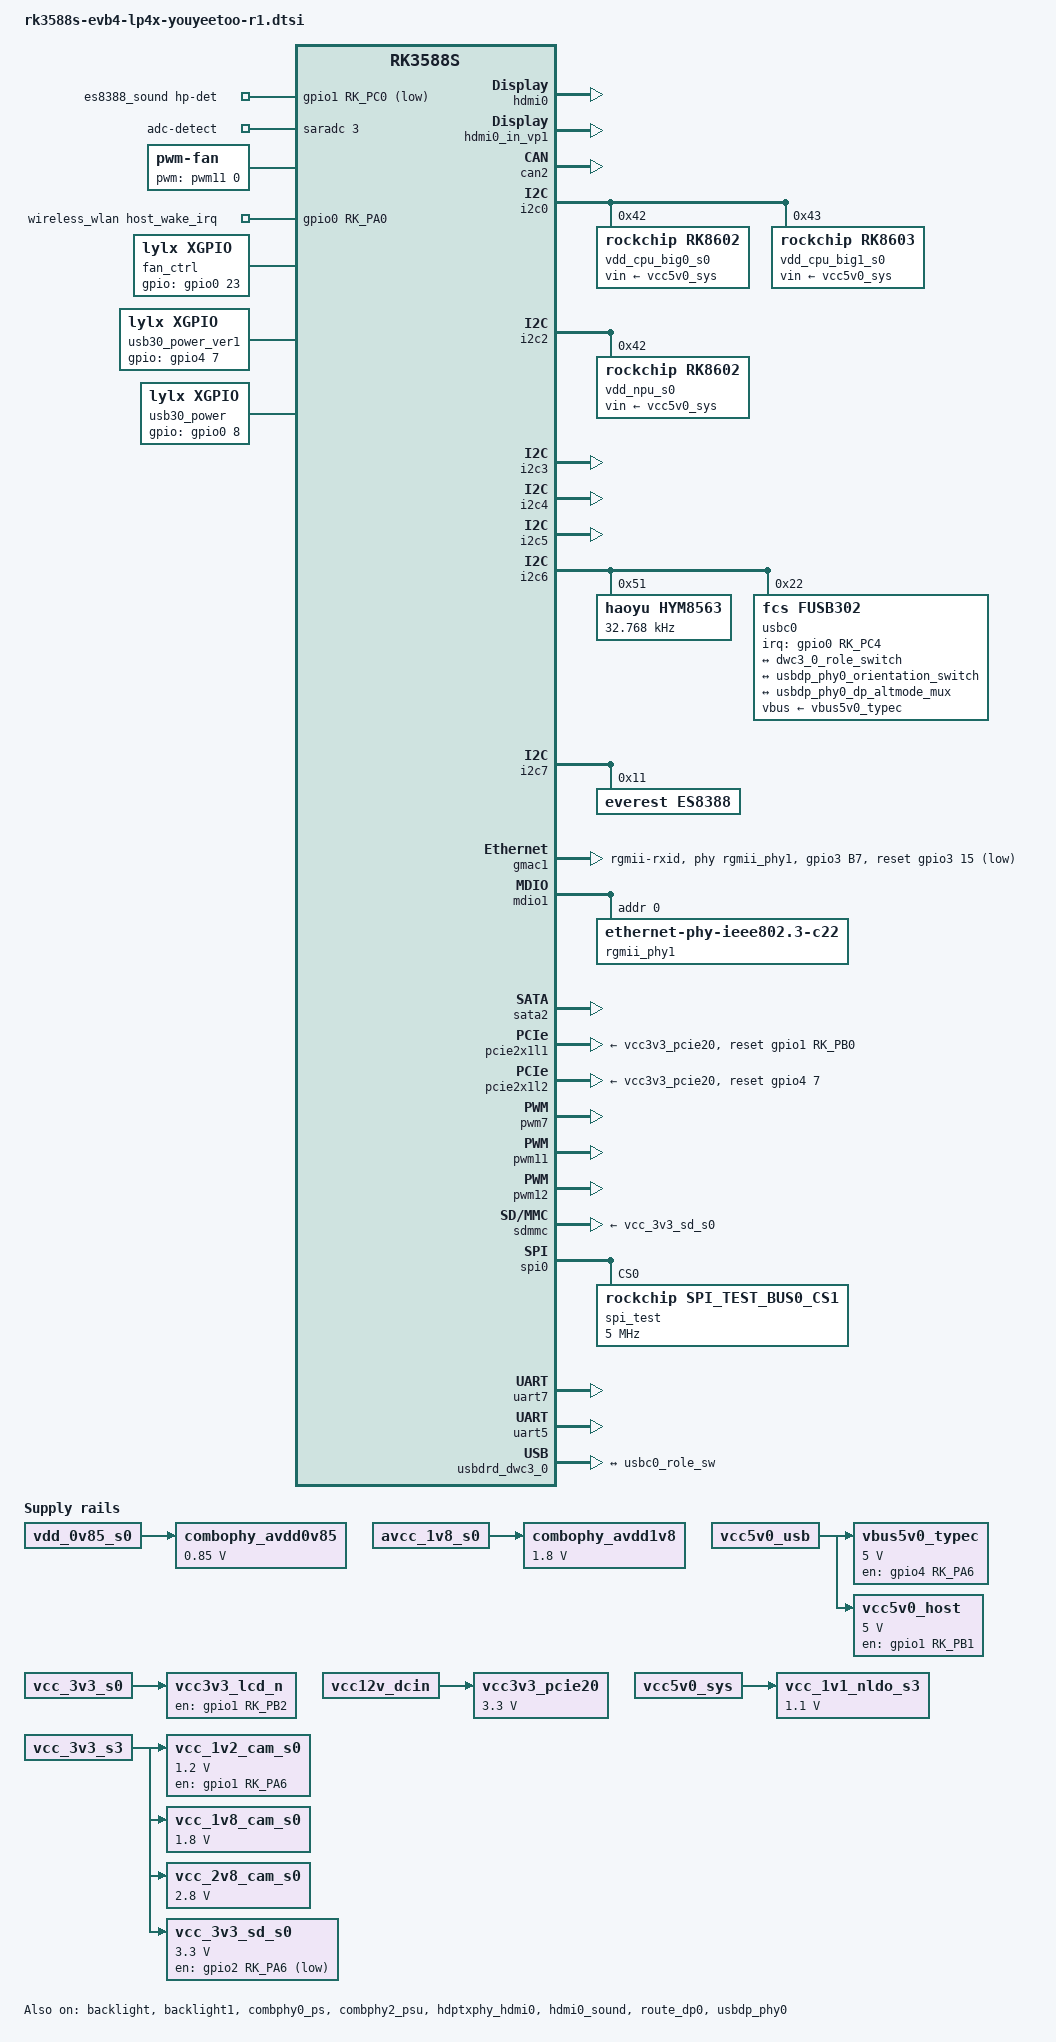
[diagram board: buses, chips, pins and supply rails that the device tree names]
// SPDX-License-Identifier: (GPL-2.0+ OR MIT)
/*
 * Copyright (c) 2021 Rockchip Electronics Co., Ltd.
 *
 */

#include "dt-bindings/usb/pd.h"
#include "rk3588s.dtsi"
#include "rk3588s-evb-youyeetoo-r1.dtsi"
#include "rk3588-rk806-single.dtsi"
#include "rk3588s-youyeetoo-r1-gc8034.dtsi"
#include "rk3588s-lcd-youyeetoo-r1.dtsi"
#define USBHOST3_0 0
#define SATA  0
/ {
	combophy_avdd0v85: combophy-avdd0v85 {
		compatible = "regulator-fixed";
		regulator-name = "combophy_avdd0v85";
		regulator-boot-on;
		regulator-always-on;
		regulator-min-microvolt = <850000>;
		regulator-max-microvolt = <850000>;
		vin-supply = <&vdd_0v85_s0>;
	};

	combophy_avdd1v8: combophy-avdd1v8 {
		compatible = "regulator-fixed";
		regulator-name = "combophy_avdd1v8";
		regulator-boot-on;
		regulator-always-on;
		regulator-min-microvolt = <1800000>;
		regulator-max-microvolt = <1800000>;
		vin-supply = <&avcc_1v8_s0>;
	};
/*
	es7202_sound_micarray: es7202-sound-micarray {
		status = "okay";
		compatible = "simple-audio-card";
		simple-audio-card,format = "i2s";
		simple-audio-card,name = "rockchip,sound-micarray";
		simple-audio-card,mclk-fs = <256>;
		simple-audio-card,dai-link@0 {
			format = "pdm";
			cpu {
				sound-dai = <&pdm0>;
			};
			codec {
				sound-dai = <&es7202>;
			};
		};
	};
*/
	es8388_sound: es8388-sound {
		status = "okay";
		compatible = "rockchip,multicodecs-card";
		rockchip,card-name = "rockchip-es8388";
                hp-det-gpio = <&gpio1 RK_PC0 GPIO_ACTIVE_LOW>;
		io-channels = <&saradc 3>;
		io-channel-names = "adc-detect";
		keyup-threshold-microvolt = <1800000>;
		poll-interval = <100>;
                //spk-con-gpio = <&gpio4 RK_PA5 GPIO_ACTIVE_HIGH>;
                //hp-con-gpio = <&gpio1 RK_PA4 GPIO_ACTIVE_HIGH>;
		rockchip,format = "i2s";
		rockchip,mclk-fs = <256>;
		rockchip,cpu = <&i2s0_8ch>;
		rockchip,codec = <&es8388>;
                //rockchip,audio-routing =
                //	"Headphone", "LOUT1",
                //	"Headphone", "ROUT1",
                //	"Speaker", "LOUT2",
                //	"Speaker", "ROUT2",
                //	"Headphone", "Headphone Power",
                //	"Headphone", "Headphone Power",
                //	"Speaker", "Speaker Power",
                //	"Speaker", "Speaker Power",
                //	"LINPUT1", "Main Mic",
                //        //"LINPUT2", "Main Mic",
                //        "RINPUT1", "Headset Mic";
                //        //"RINPUT2", "Headset Mic";
                rockchip,audio-routing =
                                        "Headphone", "LOUT1",
                                        "Headphone", "ROUT1",
                                        "Speaker", "LOUT1",
                                        "Speaker", "ROUT1",
                                        "Headphone", "Headphone Power",
                                        "Headphone", "Headphone Power",
                                        "Speaker", "Speaker Power",
                                        "Speaker", "Speaker Power",
                                        "LINPUT1", "Main Mic",
                                        "LINPUT2", "Main Mic",
                                        "RINPUT1", "Main Mic",
                                        "RINPUT2", "Main Mic";

		pinctrl-names = "default";
		pinctrl-0 = <&hp_det>;
		play-pause-key {
			label = "playpause";
			linux,code = <KEY_PLAYPAUSE>;
			press-threshold-microvolt = <2000>;
		};
	};

	fan: pwm-fan {
		compatible = "pwm-fan";
		#cooling-cells = <2>;
		pwms = <&pwm11 0 50000 0>;
		cooling-levels = <0 50 100 150 200 255>;
		rockchip,temp-trips = <
			50000	1
			55000	2
			60000	3
			65000	4
			70000	5
		>;
	};

	vbus5v0_typec: vbus5v0-typec {
		compatible = "regulator-fixed";
		regulator-name = "vbus5v0_typec";
		regulator-min-microvolt = <5000000>;
		regulator-max-microvolt = <5000000>;
		enable-active-high;
                gpio = <&gpio4 RK_PA6 GPIO_ACTIVE_HIGH>;
		vin-supply = <&vcc5v0_usb>;
		pinctrl-names = "default";
		pinctrl-0 = <&typec5v_pwren>;
	};

	vcc3v3_lcd_n: vcc3v3-lcd0-n {
		compatible = "regulator-fixed";
		regulator-name = "vcc3v3_lcd0_n";
		regulator-boot-on;
		enable-active-high;
		gpio = <&gpio1 RK_PB2 GPIO_ACTIVE_HIGH>;
		vin-supply = <&vcc_3v3_s0>;
	};

	vcc3v3_pcie20: vcc3v3-pcie20 {
		compatible = "regulator-fixed";
		regulator-name = "vcc3v3_pcie20";
		regulator-min-microvolt = <3300000>;
		regulator-max-microvolt = <3300000>;
		enable-active-high;
                //gpios = <&gpio3 RK_PC3 GPIO_ACTIVE_HIGH>;
		startup-delay-us = <5000>;
		vin-supply = <&vcc12v_dcin>;
	};

	vcc5v0_host: vcc5v0-host {
		compatible = "regulator-fixed";
		regulator-name = "vcc5v0_host";
		regulator-boot-on;
		regulator-always-on;
		regulator-min-microvolt = <5000000>;
		regulator-max-microvolt = <5000000>;
		enable-active-high;
		gpio = <&gpio1 RK_PB1 GPIO_ACTIVE_HIGH>;
		vin-supply = <&vcc5v0_usb>;
		pinctrl-names = "default";
		pinctrl-0 = <&vcc5v0_host_en>;
	};

	vcc_1v1_nldo_s3: vcc-1v1-nldo-s3 {
		compatible = "regulator-fixed";
		regulator-name = "vcc_1v1_nldo_s3";
		regulator-always-on;
		regulator-boot-on;
		regulator-min-microvolt = <1100000>;
		regulator-max-microvolt = <1100000>;
		vin-supply = <&vcc5v0_sys>;
	};

	vcc_1v2_cam_s0: vcc-1v2-cam-s0 {
		compatible = "regulator-fixed";
		regulator-name = "vcc_1v2_cam_s0";
		regulator-min-microvolt = <1200000>;
		regulator-max-microvolt = <1200000>;
		gpios = <&gpio1 RK_PA6 GPIO_ACTIVE_HIGH>;
		enable-active-high;
		vin-supply = <&vcc_3v3_s3>;
		regulator-state-mem {
			regulator-off-in-suspend;
		};
	};

	vcc_1v8_cam_s0: vcc-1v8-cam-s0 {
		compatible = "regulator-fixed";
		regulator-name = "vcc_1v8_cam_s0";
		regulator-min-microvolt = <1800000>;
		regulator-max-microvolt = <1800000>;
		vin-supply = <&vcc_3v3_s3>;
	};

	vcc_2v8_cam_s0: vcc-2v8-cam-s0 {
		compatible = "regulator-fixed";
		regulator-name = "vcc_2v8_cam_s0";
		regulator-min-microvolt = <2800000>;
		regulator-max-microvolt = <2800000>;
		vin-supply = <&vcc_3v3_s3>;
	};

	vcc_3v3_sd_s0: vcc-3v3-sd-s0 {
		compatible = "regulator-fixed";
		regulator-name = "vcc_3v3_sd_s0";
		regulator-min-microvolt = <3300000>;
		regulator-max-microvolt = <3300000>;
                gpios = <&gpio2 RK_PA6 GPIO_ACTIVE_LOW>;
		enable-active-low;
		vin-supply = <&vcc_3v3_s3>;
			regulator-state-mem {
			regulator-off-in-suspend;
		};
	};
/*
	wireless_bluetooth: wireless-bluetooth {
		compatible = "bluetooth-platdata";
		clocks = <&hym8563>;
		clock-names = "ext_clock";
		uart_rts_gpios = <&gpio3 RK_PA4 GPIO_ACTIVE_LOW>;
		pinctrl-names = "default", "rts_gpio";
		pinctrl-0 = <&uart8m1_rtsn>, <&bt_reset_gpio>, <&bt_wake_gpio>, <&bt_wake_host_irq>;
		pinctrl-1 = <&uart8_gpios>;
		BT,reset_gpio    = <&gpio3 RK_PB7 GPIO_ACTIVE_HIGH>;
		BT,wake_gpio     = <&gpio3 RK_PC1 GPIO_ACTIVE_HIGH>;
		BT,wake_host_irq = <&gpio3 RK_PC0 GPIO_ACTIVE_HIGH>;
		status = "okay";
        };

        wireless_bluetooth: wireless-bluetooth {
                compatible = "bluetooth-platdata";
                clocks = <&hym8563>;
                clock-names = "ext_clock";
                uart_rts_gpios = <&gpio3 RK_PD2 GPIO_ACTIVE_LOW>;
                pinctrl-names = "default", "rts_gpio";
                pinctrl-0 = <&uart9m2_rtsn>, <&bt_reset_gpio>, <&bt_wake_gpio>, <&bt_wake_host_irq>;
                pinctrl-1 = <&uart9_gpios>;
                BT,reset_gpio    = <&gpio0 RK_PD4 GPIO_ACTIVE_HIGH>;
                BT,wake_gpio     = <&gpio0 RK_PC6 GPIO_ACTIVE_HIGH>;
                BT,wake_host_irq = <&gpio0 RK_PC5 GPIO_ACTIVE_HIGH>;
                status = "dsiabled";
        };
        sdio_pwrseq: sdio-pwrseq {
                compatible = "mmc-pwrseq-simple";
                clocks = <&hym8563>;
                clock-names = "ext_clock";
                pinctrl-names = "default";
                pinctrl-0 = <&wifi_enable_h>;

                //  On the module itself this is one of these (depending
                //  on the actual card populated):
                //  - SDIO_RESET_L_WL_REG_ON
                //  - PDN (power down when low)

                post-power-on-delay-ms = <200>;
                reset-gpios = <&gpio0 RK_PC7 GPIO_ACTIVE_LOW>;
        };
*/
        wireless_bluetooth: wireless-bluetooth {
                compatible = "bluetooth-platdata";
                clocks = <&hym8563>;
                clock-names = "ext_clock";
                //uart_rts_gpios = <&gpio3 RK_PA4 GPIO_ACTIVE_LOW>;
                //pinctrl-names = "default", "rts_gpio";
                //pinctrl-0 = <&uart8m1_rtsn>, <&bt_reset_gpio>, <&bt_wake_gpio>, <&bt_wake_host_irq>;
                //pinctrl-1 = <&uart8_gpios>;
                //BT,reset_gpio    = <&gpio3 RK_PB7 GPIO_ACTIVE_HIGH>;
                //BT,wake_gpio     = <&gpio3 RK_PC1 GPIO_ACTIVE_HIGH>;
                //BT,wake_host_irq = <&gpio3 RK_PC0 GPIO_ACTIVE_HIGH>;
                status = "okay";
        };
	wireless_wlan: wireless-wlan {
		compatible = "wlan-platdata";
                wifi_chip_type = "rtl8852be";
		pinctrl-names = "default";
                pinctrl-0 = <&wifi_host_wake_irq>/*, <&wifi_poweren_gpio>*/;
		WIFI,host_wake_irq = <&gpio0 RK_PA0 GPIO_ACTIVE_HIGH>;
                //WIFI,poweren_gpio = <&gpio0 RK_PC7 GPIO_ACTIVE_HIGH>;
		status = "okay";
        };

        fan_ctrl{//0c7
            compatible = "lylx,xgpio";
            gpio              = <&gpio0 23  GPIO_ACTIVE_HIGH>;
            def_val = <0>;
            //delayms = <200>;
            status = "okay";
        };        

        usb30_power_ver1{//1c7
            compatible = "lylx,xgpio";
            gpio              = <&gpio4 7  GPIO_ACTIVE_HIGH>;
            def_val = <1>;
            //delayms = <200>;
            status = "okay";
        };
        usb30_power{//0 B0
            compatible = "lylx,xgpio";
            gpio              = <&gpio0 8  GPIO_ACTIVE_HIGH>;
            def_val = <1>;
            //delayms = <200>;
            status = "okay";
        };

};

&backlight {
        pwms = <&pwm12 0 25000 0>;
	status = "okay";
};
&backlight1 {
        pwms = <&pwm11 0 25000 0>;
        status = "okay";
};


&combphy0_ps {
	status = "okay";
};

&combphy2_psu {
	status = "okay";
};

&dp0 {
        status = "disalbed";
};


&dp0_in_vp1 {
        status = "disalbed";
};

/*
 * mipi_dcphy0 needs to be enabled
 * when dsi0 is enabled
 */

/*
 * mipi_dcphy1 needs to be enabled
 * when dsi1 is enabled
 */

&hdptxphy_hdmi0 {
        status = "okay";
};


&hdmi0 {
        enable-gpios = <&gpio4 RK_PB6 GPIO_ACTIVE_HIGH>;
        status = "okay";
};

//&hdmi0_in_vp0 {
&hdmi0_in_vp1 {
        status = "okay";
};

&hdmi0_sound {
        status = "okay";
};
&can2 {
    pinctrl-names = "default";
    pinctrl-0 = <&can2m1_pins>;
    status = "okay";
};






&i2c0 {
	status = "okay";
	pinctrl-names = "default";
	pinctrl-0 = <&i2c0m2_xfer>;

	vdd_cpu_big0_s0: vdd_cpu_big0_mem_s0: rk8602@42 {
		compatible = "rockchip,rk8602";
		reg = <0x42>;
		vin-supply = <&vcc5v0_sys>;
		regulator-compatible = "rk860x-reg";
		regulator-name = "vdd_cpu_big0_s0";
		regulator-min-microvolt = <550000>;
		regulator-max-microvolt = <1050000>;
		regulator-ramp-delay = <2300>;
		rockchip,suspend-voltage-selector = <1>;
		regulator-boot-on;
		regulator-always-on;
		regulator-state-mem {
			regulator-off-in-suspend;
		};
	};

	vdd_cpu_big1_s0: vdd_cpu_big1_mem_s0: rk8603@43 {
		compatible = "rockchip,rk8603";
		reg = <0x43>;
		vin-supply = <&vcc5v0_sys>;
		regulator-compatible = "rk860x-reg";
		regulator-name = "vdd_cpu_big1_s0";
		regulator-min-microvolt = <550000>;
		regulator-max-microvolt = <1050000>;
		regulator-ramp-delay = <2300>;
		rockchip,suspend-voltage-selector = <1>;
		regulator-boot-on;
		regulator-always-on;
		regulator-state-mem {
			regulator-off-in-suspend;
		};
	};
};


&i2c2 {
	status = "okay";
	vdd_npu_s0: vdd_npu_mem_s0: rk8602@42 {
		compatible = "rockchip,rk8602";
		reg = <0x42>;
		vin-supply = <&vcc5v0_sys>;
		regulator-compatible = "rk860x-reg";
		regulator-name = "vdd_npu_s0";
		regulator-min-microvolt = <550000>;
		regulator-max-microvolt = <950000>;
		regulator-ramp-delay = <2300>;
		rockchip,suspend-voltage-selector = <1>;
		regulator-boot-on;
		regulator-always-on;
		regulator-state-mem {
			regulator-off-in-suspend;
		};
	};
};

&i2c3 {
        status = "okay";
        pinctrl-names = "default";
        pinctrl-0 = <&i2c3m2_xfer>;
/*
	es8388: es8388@11 {
                status = "disabled";
		#sound-dai-cells = <0>;
		compatible = "everest,es8388", "everest,es8323";
		reg = <0x11>;
		clocks = <&cru I2S0_8CH_MCLKOUT>;
		clock-names = "mclk";
		pinctrl-names = "default";
		pinctrl-0 = <&i2s0_mclk>;
	};

	es7202: es7202@32 {
                status = "disabled";
		#sound-dai-cells = <0>;
		compatible = "ES7202_PDM_ADC_1";
                power-supply = <&vcc_1v8_s0>;
		reg = <0x32>;
        };*/

        gt1x: gt1x@14 {
                compatible = "goodix,gt1x";
                status = "disalbed";
                reg = <0x14>;
                pinctrl-names = "default";
                pinctrl-0 = <&touch_gpio>;
                goodix,rst-gpio = <&gpio1 RK_PB3 GPIO_ACTIVE_HIGH>;
                goodix,irq-gpio = <&gpio4 RK_PB2 GPIO_ACTIVE_HIGH>;//4b2
                power-supply = <&vcc3v3_lcd_n>;
        };



};

&i2c4 {
	status = "okay";
	pinctrl-names = "default";
	pinctrl-0 = <&i2c4m3_xfer>;

/*
        gslx680@40 {
                compatible = "gslX680";
                reg = <0x40>;
                pinctrl-names = "default";
                pinctrl-0 = <&touch_gpio>;
                touch-gpio = <&gpio0 RK_PD5 IRQ_TYPE_EDGE_RISING>;
                reset-gpio = <&gpio3 RK_PC2 GPIO_ACTIVE_LOW>;
                max-x = <1024>;
                max-y = <600>;
       };*/

};

&i2c5 {
	status = "okay";
        pinctrl-0 = <&i2c5m3_xfer>;

	ls_stk3332: light@47 {
		compatible = "ls_stk3332";
		status = "disabled";
		reg = <0x47>;
		type = <SENSOR_TYPE_LIGHT>;
		irq_enable = <0>;
		als_threshold_high = <100>;
		als_threshold_low = <10>;
		als_ctrl_gain = <2>; /* 0:x1 1:x4 2:x16 3:x64 */
		poll_delay_ms = <100>;
	};

	ps_stk3332: proximity@47 {
		compatible = "ps_stk3332";
		status = "disabled";
		reg = <0x47>;
		type = <SENSOR_TYPE_PROXIMITY>;
		//pinctrl-names = "default";
		//pinctrl-0 = <&gpio3_c6>;
		//irq-gpio = <&gpio3 RK_PC6 IRQ_TYPE_LEVEL_LOW>;
		//irq_enable = <1>;
		ps_threshold_high = <0x200>;
		ps_threshold_low = <0x100>;
		ps_ctrl_gain = <3>; /* 0:x1 1:x2 2:x5 3:x8 */
		ps_led_current = <4>; /* 0:3.125mA 1:6.25mA 2:12.5mA 3:25mA 4:50mA 5:100mA*/
		poll_delay_ms = <100>;
	};

	mpu6500_acc: mpu_acc@68 {
		compatible = "mpu6500_acc";
		reg = <0x68>;
		irq-gpio = <&gpio3 RK_PB4 IRQ_TYPE_EDGE_RISING>;
		irq_enable = <0>;
		poll_delay_ms = <30>;
		type = <SENSOR_TYPE_ACCEL>;
		layout = <8>;
                status = "disabled";
	};

	mpu6500_gyro: mpu_gyro@68 {
		compatible = "mpu6500_gyro";
		reg = <0x68>;
		irq_enable = <0>;
		poll_delay_ms = <30>;
		type = <SENSOR_TYPE_GYROSCOPE>;
		layout = <8>;
                status = "disabled";
        };

};

&i2c6 {
        status = "okay";
        pinctrl-names = "default";
        pinctrl-0 = <&i2c6m3_xfer>;

        hym8563: hym8563@51 {
                compatible = "haoyu,hym8563";
                reg = <0x51>;
                #clock-cells = <0>;
                clock-frequency = <32768>;
                clock-output-names = "hym8563";
                //pinctrl-names = "default";
                //pinctrl-0 = <&hym8563_int>;
                //interrupt-parent = <&gpio0>;
                //interrupts = <RK_PB0 IRQ_TYPE_LEVEL_LOW>;
                //wakeup-source;
                status = "okay";
        };
        usbc0: fusb302@22 {
                compatible = "fcs,fusb302";
                reg = <0x22>;
                interrupt-parent = <&gpio0>;
                interrupts = <RK_PC4 IRQ_TYPE_LEVEL_LOW>;
                pinctrl-names = "default";
                pinctrl-0 = <&usbc0_int>;
                vbus-supply = <&vbus5v0_typec>;
                status = "okay";

                ports {
                        #address-cells = <1>;
                        #size-cells = <0>;

                        port@0 {
                                reg = <0>;
                                usbc0_role_sw: endpoint@0 {
                                        remote-endpoint = <&dwc3_0_role_switch>;
                                };
                        };
                };

                usb_con: connector {
                        compatible = "usb-c-connector";
                        label = "USB-C";
                        data-role = "dual";
                        power-role = "dual";
                        try-power-role = "sink";
                        op-sink-microwatt = <1000000>;
                        sink-pdos =
                                <PDO_FIXED(5000, 1000, PDO_FIXED_USB_COMM)>;
                        source-pdos =
                                <PDO_FIXED(5000, 3000, PDO_FIXED_USB_COMM)>;

                        altmodes {
                                #address-cells = <1>;
                                #size-cells = <0>;

                                altmode@0 {
                                        reg = <0>;
                                        svid = <0xff01>;
                                        vdo = <0xffffffff>;
                                };
                        };

                        ports {
                                #address-cells = <1>;
                                #size-cells = <0>;

                                port@0 {
                                        reg = <0>;
                                        usbc0_orien_sw: endpoint {
                                                remote-endpoint = <&usbdp_phy0_orientation_switch>;
                                        };
                                };

                                port@1 {
                                        reg = <1>;
                                        dp_altmode_mux: endpoint {
                                                remote-endpoint = <&usbdp_phy0_dp_altmode_mux>;
                                        };
                                };
                        };
                };
        };
};

&i2c7 {
        status = "okay";
        pinctrl-names = "default";
        pinctrl-0 = <&i2c7m0_xfer>;

        es8388: es8388@11 {
                status = "okay";
                #sound-dai-cells = <0>;
                compatible = "everest,es8388", "everest,es8323";
                reg = <0x11>;
                clocks = <&cru I2S0_8CH_MCLKOUT>;
                clock-names = "mclk";
                pinctrl-names = "default";
                pinctrl-0 = <&i2s0_mclk>;
        };


};



&gmac1 {

    phy-mode = "rgmii-rxid";
    clock_in_out = "input";


    snps,reset-gpio = <&gpio3 15 1>;//
    snps,reset-active-high;

    snps,reset-delays-us = <0 20000 100000>;

    pinctrl-names = "default";
    pinctrl-0 = <&gmac1_miim
                &gmac1_tx_bus2
                &gmac1_rx_bus2
                &gmac1_rgmii_clk
                &gmac1_rgmii_bus
                &gmac1_clkinout
                &eth1_reset_pins>;

     tx_delay = <0x44>;
     rx_delay = <0x18>;

     phy-handle = <&rgmii_phy1>;
     status = "okay";
};
&mdio1 {
        rgmii_phy1: phy@0 {
                compatible = "ethernet-phy-ieee802.3-c22";
                reg = <0x0>;
              //  clocks = <&cru REFCLKO25M_ETH0_OUT>;
        };
};

&pdm0 {
        status = "disabled";
};

#if USBHOST3_0

&u2phy3_host {
        phy-supply = <&vbus5v0_usb3>;
        status = "okay";
};

&usbhost_dwc3_0 {
        dr_mode = "host";
        status = "okay";
};

#else


&usbhost3_0 {
    status = "disabled";
};

&usbhost_dwc3_0{
        status = "disabled";
};



&sata2{
        status = "okay";
        pedet-gpios =<&gpio1 RK_PA6 GPIO_ACTIVE_LOW>;//low for sata
        assigned-clock-rates = <100000000>;
};
&pcie2x1l1 {
    reset-gpios = <&gpio1 RK_PB0 GPIO_ACTIVE_HIGH>;
    pedet-gpios = <&gpio1 RK_PA6 GPIO_ACTIVE_HIGH>;//high for pcie
    vpcie3v3-supply = <&vcc3v3_pcie20>;
    rockchip,skip-scan-in-resume;
    status = "okay";
};


#endif




//&pcie2x1l2 {
//        reset-gpios = <&gpio3 RK_PD1 GPIO_ACTIVE_HIGH>;
//        rockchip,skip-scan-in-resume;
//        pinctrl-names = "default";
//        pinctrl-0 = <&rtl8111_isolate>;
//        status = "disabled";
//};

&pcie2x1l2 {
     reset-gpios = <&gpio4 7 0>;
     vpcie3v3-supply = <&vcc3v3_pcie20>;
     rockchip,skip-scan-in-resume;


     status = "okay";
};

&pinctrl {
	headphone {
		hp_det: hp-det {
                        rockchip,pins = <1 RK_PC0 RK_FUNC_GPIO &pcfg_pull_none>;
		};
	};
        xgpio{
                gpio_4g:gpio-4g{
                        rockchip,pins =
                                <0 23  RK_FUNC_GPIO &pcfg_pull_up>,
                                //<3 26 RK_FUNC_GPIO &pcfg_pull_up>,
                                //<3 27 RK_FUNC_GPIO &pcfg_pull_up>,
                                //<0 21 RK_FUNC_GPIO &pcfg_pull_up>,
                                //<0 29 RK_FUNC_GPIO &pcfg_pull_up>,
                                //<4 6  RK_FUNC_GPIO &pcfg_pull_up>,
                                <4 7  RK_FUNC_GPIO &pcfg_pull_up>,
                                <0 8  RK_FUNC_GPIO &pcfg_pull_up>;
                                //<4 10  RK_FUNC_GPIO &pcfg_pull_none>,
                                //<4 13 RK_FUNC_GPIO &pcfg_pull_up>;
                };
        };
	hym8563 {
		hym8563_int: hym8563-int {
			rockchip,pins = <0 RK_PB0 RK_FUNC_GPIO &pcfg_pull_up>;
		};
	};
        rtl8111 {
                rtl8111_isolate: rtl8111-isolate {
                        rockchip,pins = <4 RK_PA2 RK_FUNC_GPIO &pcfg_pull_up>;
                };
        };
	lcd {
		lcd_rst_gpio: lcd-rst-gpio {
                        rockchip,pins = <1 RK_PB5 RK_FUNC_GPIO &pcfg_pull_none>,
                                        <1 RK_PB4 RK_FUNC_GPIO &pcfg_pull_none>;
		};
	};

	sensor {
		mpu6500_irq_gpio: mpu6500_irq_gpio {
			rockchip,pins = <3 RK_PB4 RK_FUNC_GPIO &pcfg_pull_none>;
		};
	};

	touch {
		touch_gpio: touch-gpio {
			rockchip,pins =
                                <4 RK_PB2 RK_FUNC_GPIO &pcfg_pull_up>,
                                <1 RK_PB2 RK_FUNC_GPIO &pcfg_pull_up>,
                                <1 RK_PB3 RK_FUNC_GPIO &pcfg_pull_up>;
		};
        };

	usb {
		vcc5v0_host_en: vcc5v0-host-en {
                        rockchip,pins = <1 RK_PB1 RK_FUNC_GPIO &pcfg_pull_none>;
		};
	};

	usb-typec {
		usbc0_int: usbc0-int {
                        rockchip,pins = <0 RK_PC4 RK_FUNC_GPIO &pcfg_pull_up>;
		};

		typec5v_pwren: typec5v-pwren {
                        rockchip,pins = <4 RK_PA6 RK_FUNC_GPIO &pcfg_pull_none>;
		};
	};
/*
        wireless-bluetooth {
                uart9_gpios: uart9-gpios {
                        rockchip,pins = <3 RK_PD2 RK_FUNC_GPIO &pcfg_pull_none>;
                };

                bt_reset_gpio: bt-reset-gpio {
                        rockchip,pins = <0 RK_PD4 RK_FUNC_GPIO &pcfg_pull_none>;
                };

                bt_wake_gpio: bt-wake-gpio {
                        rockchip,pins = <0 RK_PC6 RK_FUNC_GPIO &pcfg_pull_none>;
                };

                bt_wake_host_irq: bt-wake-host-irq {
                        rockchip,pins = <0 RK_PC5 RK_FUNC_GPIO &pcfg_pull_down>;
                };
        };
*/
        sdio-pwrseq {
                wifi_enable_h: wifi-enable-h {
                        rockchip,pins = <0 RK_PC7 RK_FUNC_GPIO &pcfg_pull_up>;
                };
        };
	wireless-wlan {
		wifi_host_wake_irq: wifi-host-wake-irq {
			rockchip,pins = <0 RK_PA0 RK_FUNC_GPIO &pcfg_pull_down>;
		};

		wifi_poweren_gpio: wifi-poweren-gpio {
			rockchip,pins = <0 RK_PC7 RK_FUNC_GPIO &pcfg_pull_up>;
		};
	};
        ethernet {
                eth1_reset_pins: eth1-reset-pins{
                        rockchip,pins = <3 RK_PB7 RK_FUNC_GPIO &pcfg_pull_down>;
                };
        };

};

&pwm7{
        pinctrl-0 = <&pwm7m0_pins>;
        status = "okay";
};

&pwm11 {
	pinctrl-0 = <&pwm11m1_pins>;
        pinctrl-names = "active";
	status = "okay";
};

&pwm12 {
        status = "okay";
        pinctrl-names = "active";
        pinctrl-0 = <&pwm12m1_pins>;
};

&pwm13 {
        status = "disabled";
	pinctrl-names = "active";
	pinctrl-0 = <&pwm13m1_pins>;
};

&pwm14 {
        status = "disabled";
        pinctrl-names = "active";
        pinctrl-0 = <&pwm14m1_pins>;
};


&pwm15 {
	compatible = "rockchip,remotectl-pwm";
	pinctrl-names = "default";
	pinctrl-0 = <&pwm15m0_pins>;
	remote_pwm_id = <3>;
	handle_cpu_id = <1>;
	remote_support_psci = <0>;
        status = "disalbed";

	ir_key1 {
		rockchip,usercode = <0x4040>;
		rockchip,key_table =
			<0xf2   KEY_REPLY>,
			<0xba   KEY_BACK>,
			<0xf4   KEY_UP>,
			<0xf1   KEY_DOWN>,
			<0xef   KEY_LEFT>,
			<0xee   KEY_RIGHT>,
			<0xbd   KEY_HOME>,
			<0xea   KEY_VOLUMEUP>,
			<0xe3   KEY_VOLUMEDOWN>,
			<0xe2   KEY_SEARCH>,
			<0xb2   KEY_POWER>,
			<0xbc   KEY_MUTE>,
			<0xec   KEY_MENU>,
			<0xbf   0x190>,
			<0xe0   0x191>,
			<0xe1   0x192>,
			<0xe9   183>,
			<0xe6   248>,
			<0xe8   185>,
			<0xe7   186>,
			<0xf0   388>,
			<0xbe   0x175>;
	};

	ir_key2 {
		rockchip,usercode = <0xff00>;
		rockchip,key_table =
			<0xf9   KEY_HOME>,
			<0xbf   KEY_BACK>,
			<0xfb   KEY_MENU>,
			<0xaa   KEY_REPLY>,
			<0xb9   KEY_UP>,
			<0xe9   KEY_DOWN>,
			<0xb8   KEY_LEFT>,
			<0xea   KEY_RIGHT>,
			<0xeb   KEY_VOLUMEDOWN>,
			<0xef   KEY_VOLUMEUP>,
			<0xf7   KEY_MUTE>,
			<0xe7   KEY_POWER>,
			<0xfc   KEY_POWER>,
			<0xa9   KEY_VOLUMEDOWN>,
			<0xa8   KEY_PLAYPAUSE>,
			<0xe0   KEY_VOLUMEDOWN>,
			<0xa5   KEY_VOLUMEDOWN>,
			<0xab   183>,
			<0xb7   388>,
			<0xe8   388>,
			<0xf8   184>,
			<0xaf   185>,
			<0xed   KEY_VOLUMEDOWN>,
			<0xee   186>,
			<0xb3   KEY_VOLUMEDOWN>,
			<0xf1   KEY_VOLUMEDOWN>,
			<0xf2   KEY_VOLUMEDOWN>,
			<0xf3   KEY_SEARCH>,
			<0xb4   KEY_VOLUMEDOWN>,
			<0xa4   KEY_SETUP>,
			<0xbe   KEY_SEARCH>;
	};

	ir_key3 {
		rockchip,usercode = <0x1dcc>;
		rockchip,key_table =
			<0xee   KEY_REPLY>,
			<0xf0   KEY_BACK>,
			<0xf8   KEY_UP>,
			<0xbb   KEY_DOWN>,
			<0xef   KEY_LEFT>,
			<0xed   KEY_RIGHT>,
			<0xfc   KEY_HOME>,
			<0xf1   KEY_VOLUMEUP>,
			<0xfd   KEY_VOLUMEDOWN>,
			<0xb7   KEY_SEARCH>,
			<0xff   KEY_POWER>,
			<0xf3   KEY_MUTE>,
			<0xbf   KEY_MENU>,
			<0xf9   0x191>,
			<0xf5   0x192>,
			<0xb3   388>,
			<0xbe   KEY_1>,
			<0xba   KEY_2>,
			<0xb2   KEY_3>,
			<0xbd   KEY_4>,
			<0xf9   KEY_5>,
			<0xb1   KEY_6>,
			<0xfc   KEY_7>,
			<0xf8   KEY_8>,
			<0xb0   KEY_9>,
			<0xb6   KEY_0>,
			<0xb5   KEY_BACKSPACE>;
	};
};


&route_dp0 {
        status = "okay";
        connect = <&vp1_out_dp0>;
};

&sdmmc {
	status = "okay";
	vmmc-supply = <&vcc_3v3_sd_s0>;
};
/*
&sdio {
        max-frequency = <150000000>;
        no-sd;
        no-mmc;
        bus-width = <4>;
        disable-wp;
        cap-sd-highspeed;
        cap-sdio-irq;
        keep-power-in-suspend;
        mmc-pwrseq = <&sdio_pwrseq>;
        non-removable;
        pinctrl-names = "default";
        pinctrl-0 = <&sdiom1_pins>;
        sd-uhs-sdr104;
        status = "disabled";
};
*/


&spdif_tx1 {
        status = "disabled";
	pinctrl-names = "default";
	pinctrl-0 = <&spdif1m1_tx>;
};

&spdif_tx1_dc {
        status = "disabled";
};

&spdif_tx1_sound {
        status = "disabled";
};

&spi2 {
	pinctrl-names = "default";
	pinctrl-0 = <&spi2m2_cs0 &spi2m2_pins>;
	num-cs = <1>;
};
&spi0 {
        status = "okay";
        pinctrl-names = "default";
        pinctrl-0 = <&spi0m3_cs0  &spi0m3_cs1 &spi0m3_pins>;
        num-cs = <2>;
        spi_test@0 {
        compatible = "rockchip,spi_test_bus0_cs1";
        reg = <0>;
        spi-max-frequency = <5000000>;
        };
};



&u2phy0_otg {
	rockchip,typec-vbus-det;
};

&u2phy2_host {
	phy-supply = <&vcc5v0_host>;
};

&u2phy3_host {
	phy-supply = <&vcc5v0_host>;
};

&uart9 {//
        status = "disabled";
        pinctrl-names = "default";
        pinctrl-0 = <&uart9m2_xfer>;
};

&uart0 {//
        status = "disabled";
        pinctrl-names = "default";
        pinctrl-0 = <&uart0m2_xfer >;
};
&uart7 {
        status = "okay";
        pinctrl-names = "default";
        pinctrl-0 = <&uart7m1_xfer >;
};
&uart3 {//
        status = "disabled";
        pinctrl-names = "default";
        pinctrl-0 = <&uart3m0_xfer >;
};
&uart4 {//
        status = "disabled";
        pinctrl-names = "default";
        pinctrl-0 = <&uart4m0_xfer >;
};
&uart5 {
        status = "okay";
        pinctrl-names = "default";
        pinctrl-0 = <&uart5m1_xfer >;
};
&uart6 {
        status = "disabled";
        pinctrl-names = "default";
        pinctrl-0 = <&uart6m1_xfer >;
};
/*
&uart9 {
        status = "okay";
        pinctrl-names = "default";
        pinctrl-0 = <&uart9m2_xfer >;
};*/
&usbdp_phy0 {
	orientation-switch;
	svid = <0xff01>;
        sbu1-dc-gpios = <&gpio4 RK_PA0 GPIO_ACTIVE_HIGH>;
        sbu2-dc-gpios = <&gpio4 RK_PA1 GPIO_ACTIVE_HIGH>;
        status = "okay";
	port {
		#address-cells = <1>;
		#size-cells = <0>;
		usbdp_phy0_orientation_switch: endpoint@0 {
			reg = <0>;
			remote-endpoint = <&usbc0_orien_sw>;
		};

		usbdp_phy0_dp_altmode_mux: endpoint@1 {
			reg = <1>;
			remote-endpoint = <&dp_altmode_mux>;
		};
	};
};

&usbdrd_dwc3_0 {
	usb-role-switch;
	port {
		#address-cells = <1>;
		#size-cells = <0>;
		dwc3_0_role_switch: endpoint@0 {
			reg = <0>;
			remote-endpoint = <&usbc0_role_sw>;
		};
	};
};


